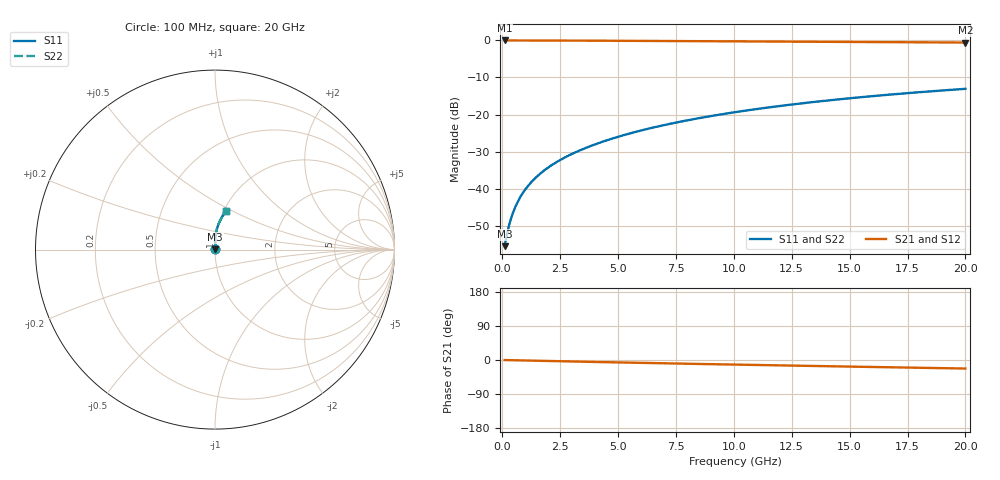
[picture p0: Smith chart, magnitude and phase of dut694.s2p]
! Touchstone file exported from HFSS 2024.1.0
!  File:  C:/UserFiles/LocalFiles/RDL_TSV_Batchsim/temp_RDL_bottom_694_1779787155.aedt
!  Generated:  05:21:32 PM May 26, 2026
!  Design:  RDL_bottom
!  Project:  temp_RDL_bottom_694_1779787155
!  Setup:  Setup1
!  Solution:  Sweep
! Variables:
!  dtsv = 10.80580581um
!  hbump = 3um
!  htsv = 87.85um
!  ldown = 303.56um
!  lrdl = 100um
!  p = 40
!  p1 = 48.94um
!  rhole = 1um
!  t = 450um
!  tdown = 4.2um
!  trdl = 3.915915916um
!  wdown = 23um
!  wrdl = 20um
# GHz S MA R 50.000000
! Terminal data exported
! Port[1] = RDL1_T1
! Port[2] = RDL1_T2
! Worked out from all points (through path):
!   200 points, 100 MHz to 20 GHz, reference 50 ohm
!   highest |S21| = -0.01 dB at 100 MHz (marker M1); lowest = -0.6 dB at 20 GHz (marker M2)
!   group delay of S21, straight-line fit = 3.09 ps
!   lowest |S11| = -55.5 dB at 100 MHz (marker M3), VSWR 1.00, Z = 50.1 + j0.107 ohm
!   |S11| at or under -10 dB: start of sweep to end of sweep
!   |S22| runs from -55.5 to -13.1 dB; largest |S21 - S12| = 3.1e-15
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0.1  0.001682 39.3  0.9987 -0.1  0.9987 -0.1  0.001682 39.3
! Gamma 0 0 0 0
! Port Impedance 50 0 50 0
0.2  0.002443 56.1  0.9986 -0.3  0.9986 -0.3  0.002443 56.1
0.3  0.00329 65.1  0.9985 -0.4  0.9985 -0.4  0.00329 65.1
0.4  0.004185 70.5  0.9984 -0.5  0.9984 -0.5  0.004185 70.5
0.5  0.005106 74.0  0.9983 -0.7  0.9983 -0.7  0.005106 74.0
0.6  0.006042 76.5  0.9983 -0.8  0.9983 -0.8  0.006042 76.5
0.8  0.007937 79.7  0.9981 -1.1  0.9981 -1.1  0.007937 79.7
1.1  0.01081 82.4  0.9978 -1.5  0.9978 -1.5  0.01081 82.4
1.5  0.01466 84.4  0.9973 -2.0  0.9973 -2.0  0.01466 84.4
1.8  0.01756 85.4  0.9969 -2.4  0.9969 -2.4  0.01756 85.4
2.1  0.02048 86.1  0.9964 -2.8  0.9964 -2.8  0.02048 86.1
2.7  0.0264 87.1  0.9952 -3.5  0.9952 -3.5  0.0264 87.1
3.5  0.03446 87.9  0.9932 -4.5  0.9932 -4.5  0.03446 87.9
4.2  0.04169 88.2  0.9912 -5.4  0.9912 -5.4  0.04169 88.2
5  0.05018 88.4  0.9888 -6.4  0.9888 -6.4  0.05018 88.4
6.8  0.07006 87.9  0.9826 -8.5  0.9826 -8.5  0.07006 87.9
8.4  0.08841 86.8  0.977 -10.3  0.977 -10.3  0.08842 86.8
10.1  0.1083 85.3  0.9709 -12.2  0.9709 -12.2  0.1083 85.3
11.7  0.1272 83.6  0.9653 -13.9  0.9653 -13.9  0.1272 83.6
13.4  0.1473 81.7  0.9593 -15.7  0.9593 -15.7  0.1473 81.7
16.7  0.1855 77.9  0.9478 -19.2  0.9478 -19.2  0.1855 77.9
20  0.2224 74.0  0.9362 -22.5  0.9362 -22.5  0.2224 74.0
